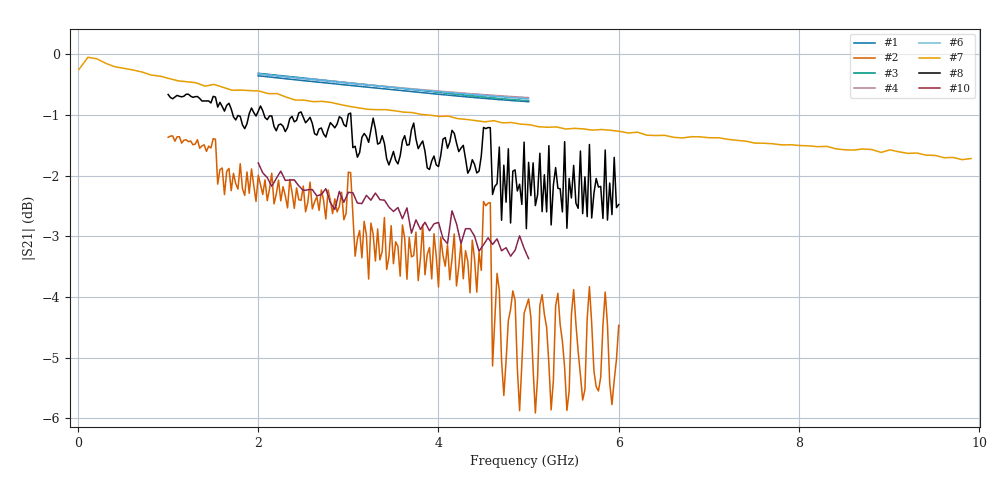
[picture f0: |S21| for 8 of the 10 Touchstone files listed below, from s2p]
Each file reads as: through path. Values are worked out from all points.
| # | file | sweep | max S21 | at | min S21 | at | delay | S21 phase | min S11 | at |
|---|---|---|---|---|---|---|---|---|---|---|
| 1 | 1.S2P | 2 GHz to 5 GHz | -0.36 dB | 2 GHz | -0.8 dB | 5 GHz | 309 ps | -32 deg at 3.5 GHz | -36.7 dB | 2.13 GHz |
| 2 | 1_2.s2p | 1 GHz to 6 GHz | -1.35 dB | 1.05 GHz | -5.9 dB | 5.075 GHz | - | 23 deg at 3.5 GHz | -46.7 dB | 1.75 GHz |
| 3 | 3.S2P | 2 GHz to 5 GHz | -0.32 dB | 2 GHz | -0.8 dB | 5 GHz | 310 ps | -33 deg at 3.5 GHz | -37.2 dB | 3.47 GHz |
| 4 | 4.S2P | 2 GHz to 5 GHz | -0.33 dB | 2 GHz | -0.7 dB | 5 GHz | 310 ps | -34 deg at 3.5 GHz | -40.5 dB | 5 GHz |
| 5 | 5.S2P | 2 GHz to 5 GHz | -0.34 dB | 2 GHz | -0.7 dB | 5 GHz | 302 ps | -22 deg at 3.5 GHz | -34.1 dB | 3.68 GHz |
| 6 | 6.S2P | 2 GHz to 5 GHz | -0.33 dB | 2 GHz | -0.7 dB | 5 GHz | 302 ps | -22 deg at 3.5 GHz | -36.7 dB | 3.64 GHz |
| 7 | 8.s2p | 10 MHz to 9.91 GHz | -0.05 dB | 110 MHz | -1.7 dB | 9.81 GHz | 505 ps | 168 deg at 5.01 GHz | -44.4 dB | 2.21 GHz |
| 8 | PNA.s2p | 1 GHz to 6 GHz | -0.66 dB | 1.225 GHz | -2.9 dB | 4.975 GHz | - | 5 deg at 3.5 GHz | -54.6 dB | 3.8 GHz |
| 9 | port3.s2p | 2 GHz to 5 GHz | -1.78 dB | 2 GHz | -3.5 dB | 5 GHz | 310 ps | -33 deg at 3.5 GHz | -37.3 dB | 3.47 GHz |
| 10 | port4.s2p | 2 GHz to 5 GHz | -1.79 dB | 2 GHz | -3.4 dB | 5 GHz | 310 ps | -34 deg at 3.5 GHz | -40.4 dB | 5 GHz |
